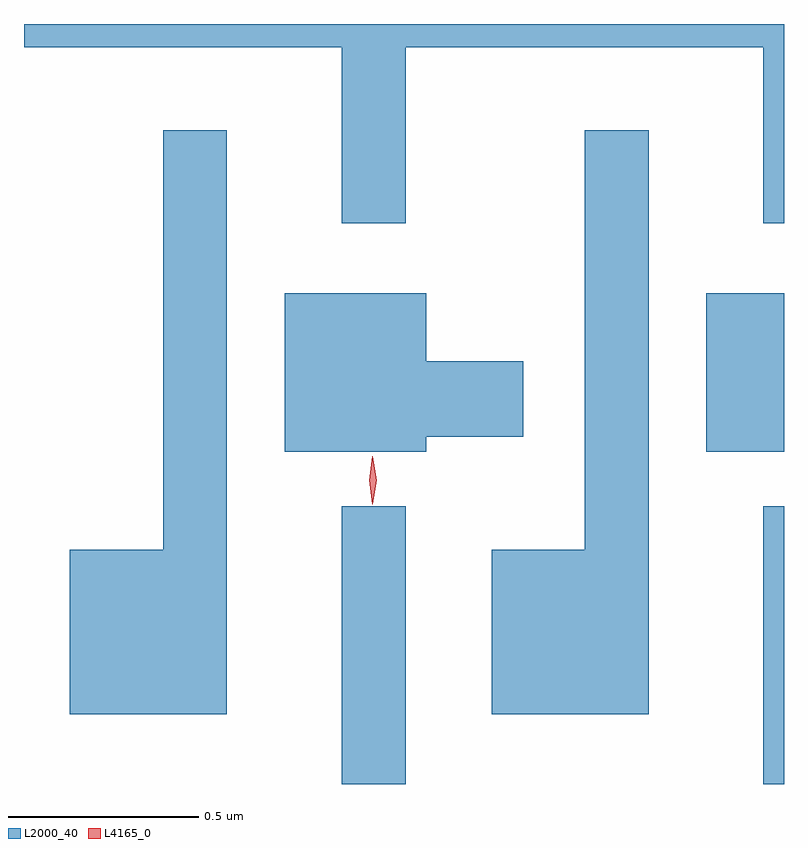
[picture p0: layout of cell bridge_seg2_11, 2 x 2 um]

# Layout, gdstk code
import gdstk
lib = gdstk.Library(unit=1e-6, precision=1e-09)
def R(c, l, rs):  # rectangles x0, y0, x1, y1
    for r in rs: c.add(gdstk.rectangle(r[:2], r[2:], *l))
def P(c, l, *ps):  # polygons
    for p in ps: c.add(gdstk.Polygon(p, *l))
L2000_40 = (2000, 40)
L4165_0 = (4165, 0)

bridge_seg2_11 = lib.new_cell('bridge_seg2_11')
R(bridge_seg2_11, L2000_40, [(1908.761,1017.517,1908.929,1018.248), (1909.871,1017.517,1909.925,1018.248), (1909.721,1018.391,1909.925,1018.809)])
P(bridge_seg2_11, L2000_40, [(1908.929,1019.456),(1909.871,1019.456),(1909.871,1018.993),(1909.925,1018.993),(1909.925,1019.517),(1907.925,1019.517),(1907.925,1019.456),(1908.761,1019.456),(1908.761,1018.993),(1908.929,1018.993)],
  [(1909.569,1019.238),(1909.401,1019.238),(1909.401,1018.134),(1909.156,1018.134),(1909.156,1017.701),(1909.569,1017.701)],
  [(1908.459,1019.238),(1908.291,1019.238),(1908.291,1018.134),(1908.046,1018.134),(1908.046,1017.701),(1908.459,1017.701)],
  [(1908.984,1018.431),(1909.239,1018.431),(1909.239,1018.629),(1908.984,1018.629),(1908.984,1018.809),(1908.611,1018.809),(1908.611,1018.391),(1908.984,1018.391)])
P(bridge_seg2_11, L4165_0, [(1908.842,1018.253),(1908.833,1018.316),(1908.842,1018.379),(1908.843,1018.38),(1908.843,1018.379),(1908.853,1018.316),(1908.843,1018.253),(1908.843,1018.253)])

lib.write_gds('bridge_seg2_11.gds')
